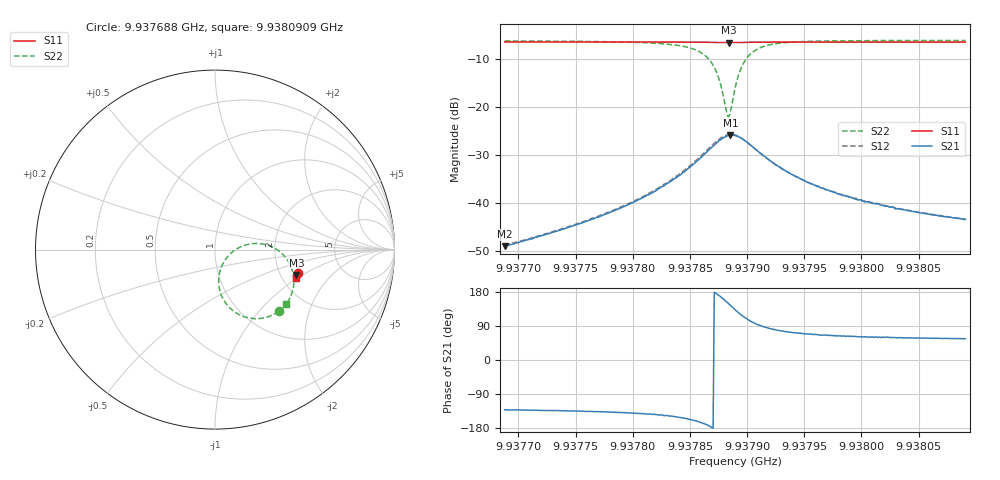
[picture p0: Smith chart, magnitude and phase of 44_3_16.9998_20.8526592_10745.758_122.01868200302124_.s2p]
#  HZ  S  RI  R  50.00
! Rohde & Schwarz Vector Network Analyzer
! Rohde-Schwarz,ZNB20-2Port,1311601062101988,3.16
! Created: UTC 3/20/2024, 10:54:02 PM
! freq[Hz]  re:S11  im:S11  re:S21  im:S21  re:S12  im:S12  re:S22  im:S22
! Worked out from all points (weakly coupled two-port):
!   401 points, 9.937688 GHz to 9.9380909 GHz, reference 50 ohm
!   highest |S21| = -25.80 dB at 9.9378854 GHz (marker M1); lowest = -49.0 dB at 9.937688 GHz (marker M2)
!   lowest |S11| = -6.5 dB at 9.9378844 GHz (marker M3), VSWR 2.81, Z = 121 - j44.4 ohm
!   |S11| at or under -10 dB: nowhere
!   |S22| runs from -21.9 to -6.0 dB; largest |S21 - S12| = 0.0037
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9.93768801e9  0.4634 -0.1315  -0.00235 -0.00267  -0.00245 -0.00271  0.3545 -0.3437
9.93775548e9  0.4614 -0.1363  -0.00441 -0.00438  -0.00454 -0.0044  0.3322 -0.3581
9.93779476e9  0.4603 -0.1391  -0.00719 -0.00619  -0.00748 -0.0062  0.305 -0.3709
9.93782296e9  0.4591 -0.1412  -0.0116 -0.0082  -0.0121 -0.00826  0.2652 -0.3819
9.93785015e9  0.4573 -0.1434  -0.0218 -0.0094  -0.0229 -0.00905  0.1762 -0.3778
9.93786526e9  0.4555 -0.1442  -0.0342 -0.00496  -0.0359 -0.00384  0.0788 -0.3209
9.93786929e9  0.4548 -0.1442  -0.0384 -0.00131  -0.04 0.000144  0.0503 -0.2837
9.93787332e9  0.4541 -0.1438  -0.0423 0.00392  -0.0439 0.0063  0.0277 -0.2314
9.93787735e9  0.4535 -0.1434  -0.0449 0.0116  -0.046 0.0145  0.0205 -0.1639
9.93788238e9  0.4532 -0.1422  -0.0446 0.0229  -0.0442 0.0264  0.0481 -0.0711
9.9378844e9  0.4532 -0.1418  -0.0427 0.0276  -0.042 0.031  0.0721 -0.0373
9.9378854e9  0.4532 -0.1416  -0.0418 0.0297  -0.0405 0.0332  0.0866 -0.0223
9.93788943e9  0.4538 -0.1409  -0.0347 0.0371  -0.0327 0.0399  0.1564 0.0208
9.93789245e9  0.4544 -0.1405  -0.0281 0.0404  -0.026 0.0425  0.2127 0.0336
9.93789648e9  0.4553 -0.1404  -0.02 0.0418  -0.0175 0.0431  0.2812 0.0278
9.93790152e9  0.4562 -0.1406  -0.011 0.0402  -0.00878 0.0408  0.3462 -0.00112
9.93790756e9  0.457 -0.1415  -0.0037 0.0361  -0.00208 0.0363  0.3945 -0.0459
9.93792871e9  0.4578 -0.1441  0.00507 0.0232  0.00561 0.0229  0.4389 -0.1627
9.93795691e9  0.4574 -0.1468  0.00607 0.0147  0.0064 0.0145  0.432 -0.231
9.93799518e9  0.4565 -0.1498  0.00512 0.0097  0.00558 0.00979  0.4172 -0.2698
9.93802439e9  0.4558 -0.152  0.00463 0.00777  0.00486 0.00778  0.4087 -0.2854
9.93809086e9  0.4539 -0.1566  0.00375 0.00564  0.00388 0.00558  0.3953 -0.3051
